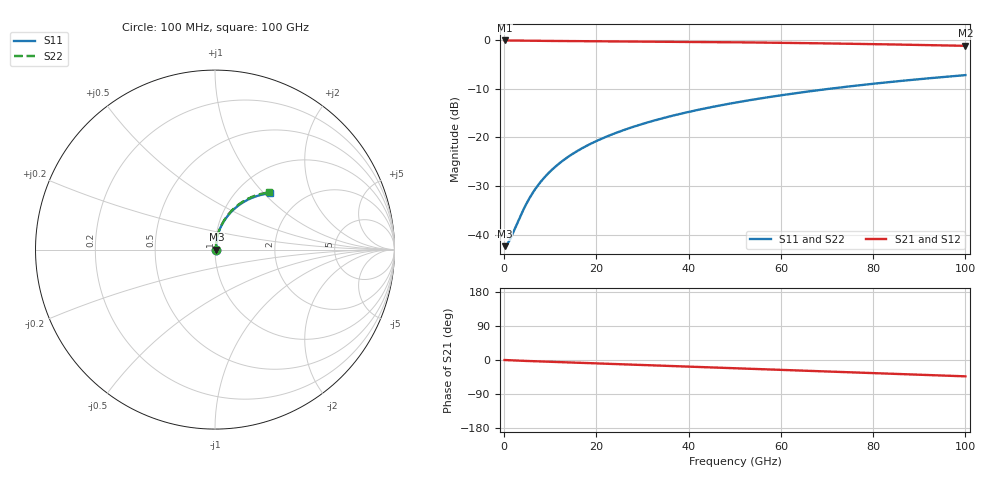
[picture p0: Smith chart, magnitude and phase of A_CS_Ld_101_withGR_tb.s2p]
! Touchstone simulation data from EMX version 6.0
! Sat Sep 10 00:21:44 2022
# Hz S RI R 50
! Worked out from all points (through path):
!   1000 points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, 100 MHz to 100 GHz, reference 50 ohm
!   highest |S21| = -0.07 dB at 100 MHz (marker M1); lowest = -1.2 dB at 100 GHz (marker M2)
!   group delay of S21, straight-line fit = 1.19 ps
!   lowest |S11| = -42.3 dB at 100 MHz (marker M3), VSWR 1.02, Z = 50.8 + j0.039 ohm
!   |S11| at or under -10 dB: start of sweep to 70.52 GHz
!   |S22| runs from -42.3 to -7.2 dB; largest |S21 - S12| = 0
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1e8  0.00763 0.000384  0.9924 -0.000994  0.9924 -0.000994  0.00763 0.000382
6e8  0.0076 0.00231  0.9922 -0.00594  0.9922 -0.00594  0.0076 0.00229
1.1e9  0.00755 0.00423  0.9918 -0.0108  0.9918 -0.0108  0.00754 0.00421
1.8e9  0.0074 0.00695  0.9909 -0.0174  0.9909 -0.0174  0.00738 0.00691
3.7e9  0.00674 0.0148  0.9877 -0.0337  0.9877 -0.0337  0.00668 0.0148
4.8e9  0.00642 0.0197  0.9858 -0.0424  0.9858 -0.0424  0.00634 0.0197
6.2e9  0.00628 0.0262  0.9835 -0.0529  0.9835 -0.0529  0.00617 0.0262
7.7e9  0.00651 0.0333  0.9812 -0.0639  0.9812 -0.0639  0.00636 0.0333
9.6e9  0.00729 0.0423  0.9785 -0.0776  0.9785 -0.0776  0.00709 0.0423
1.17e10  0.00869 0.0522  0.9757 -0.0925  0.9757 -0.0925  0.00843 0.0522
1.41e10  0.0108 0.0634  0.9724 -0.1095  0.9724 -0.1095  0.0105 0.0634
1.68e10  0.0137 0.0757  0.9684 -0.1285  0.9684 -0.1285  0.0133 0.0758
2.02e10  0.0182 0.091  0.9628 -0.1525  0.9628 -0.1525  0.0176 0.0911
2.41e10  0.0244 0.108  0.9557 -0.1799  0.9557 -0.1799  0.0236 0.1082
2.85e10  0.0326 0.1267  0.9466 -0.2104  0.9466 -0.2104  0.0315 0.127
3.34e10  0.0432 0.147  0.9349 -0.2439  0.9349 -0.2439  0.0418 0.1474
4.12e10  0.0629 0.1776  0.9129 -0.2957  0.9129 -0.2957  0.0609 0.1782
5.01e10  0.0895 0.2095  0.8828 -0.3526  0.8828 -0.3526  0.0869 0.2106
5.8e10  0.1168 0.2349  0.8521 -0.4002  0.8521 -0.4002  0.1135 0.2365
6.67e10  0.1503 0.2595  0.8143 -0.4493  0.8143 -0.4493  0.1464 0.2618
8.34e10  0.2235 0.2951  0.7311 -0.5321  0.7311 -0.5321  0.2185 0.2988
1e11  0.3042 0.3137  0.6379 -0.5975  0.6379 -0.5975  0.2989 0.3186
